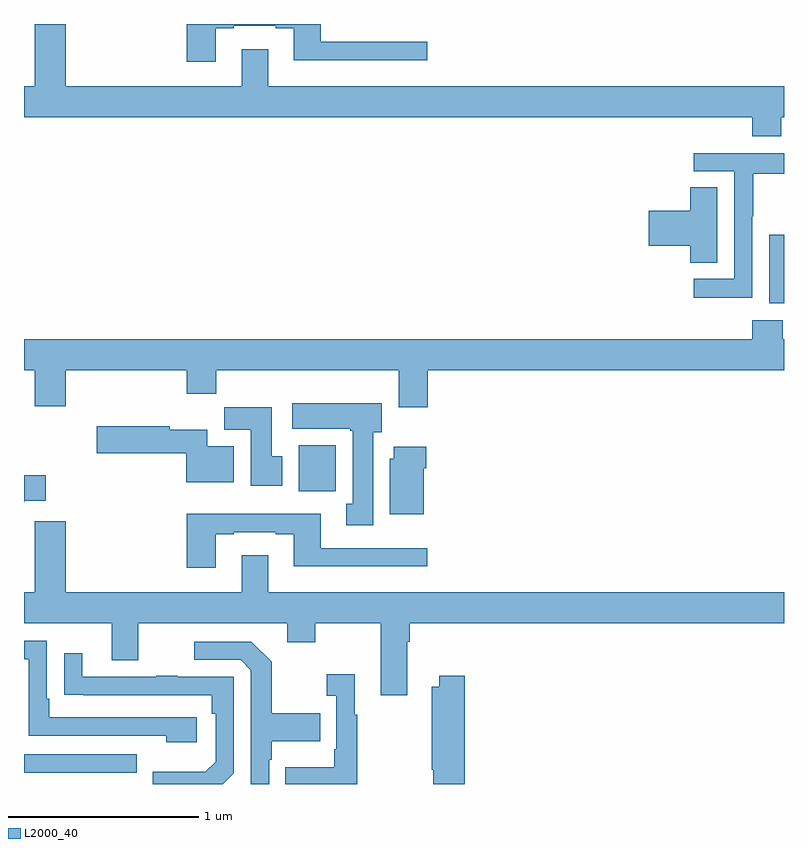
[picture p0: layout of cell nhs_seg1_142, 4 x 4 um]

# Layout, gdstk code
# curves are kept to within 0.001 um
import gdstk
lib = gdstk.Library(unit=1e-6, precision=1e-09)
def R(c, l, rs):  # rectangles x0, y0, x1, y1
    for r in rs: c.add(gdstk.rectangle(r[:2], r[2:], *l))
def P(c, l, *ps):  # polygons
    for p in ps: c.add(gdstk.Polygon(p, *l))
L2000_40 = (2000, 40)

nhs_seg1_142 = lib.new_cell('nhs_seg1_142')
R(nhs_seg1_142, L2000_40, [(117,572.259,117.593,572.355), (118.445,573.74,118.642,573.982), (120.923,574.73,121,575.091)])
P(nhs_seg1_142, L2000_40, [(118.009,576.177),(118.105,576.177),(118.105,576.189),(118.325,576.189),(118.325,576.177),(118.421,576.177),(118.421,576.008),(119.122,576.008),(119.122,576.105),(118.561,576.105),(118.561,576.199),(117.857,576.199),(117.857,576),(118.009,576)],
  [(120.985,575.708),(121,575.708),(121,575.872),(118.285,575.872),(118.285,576.067),(118.145,576.067),(118.145,575.872),(117.22,575.872),(117.22,576.199),(117.056,576.199),(117.056,575.872),(117,575.872),(117,575.708),(120.833,575.708),(120.833,575.609),(120.985,575.609)],
  [(120.834,575.188),(120.837,575.188),(120.837,575.412),(121,575.412),(121,575.52),(120.525,575.52),(120.525,575.424),(120.738,575.424),(120.738,574.857),(120.525,574.857),(120.525,574.759),(120.834,574.759)],
  [(120.649,575.339),(120.506,575.339),(120.506,575.216),(120.288,575.216),(120.288,575.033),(120.506,575.033),(120.506,574.942),(120.649,574.942)],
  [(119.126,574.376),(121,574.376),(121,574.54),(120.993,574.54),(120.993,574.639),(120.833,574.639),(120.833,574.54),(117,574.54),(117,574.376),(117.056,574.376),(117.056,574.188),(117.22,574.188),(117.22,574.376),(117.857,574.376),(117.857,574.252),(118.013,574.252),(118.013,574.376),(118.973,574.376),(118.973,574.182),(119.126,574.182)],
  [(118.837,574.05),(118.882,574.05),(118.882,574.204),(118.413,574.204),(118.413,574.07),(118.717,574.07),(118.717,574.057),(118.73,574.057),(118.73,573.674),(118.697,573.674),(118.697,573.561),(118.837,573.561)],
  [(118.36,573.924),(118.303,573.924),(118.303,574.183),(118.054,574.183),(118.054,574.064),(118.193,574.064),(118.193,573.768),(118.36,573.768)],
  [(118.105,573.976),(117.964,573.976),(117.964,574.063),(117.768,574.063),(117.768,574.083),(117.384,574.083),(117.384,573.941),(117.854,573.941),(117.854,573.788),(118.105,573.788)],
  [(119.104,573.86),(119.117,573.86),(119.117,573.973),(118.946,573.973),(118.946,573.912),(118.925,573.912),(118.925,573.62),(119.104,573.62)],
  [(117.002,573.689),(117.115,573.689),(117.115,573.824),(117,573.824),(117,573.682),(117.002,573.682)],
  [(118.009,573.513),(118.105,573.513),(118.105,573.525),(118.325,573.525),(118.325,573.513),(118.421,573.513),(118.421,573.344),(119.122,573.344),(119.122,573.441),(118.561,573.441),(118.561,573.622),(117.857,573.622),(117.857,573.336),(118.009,573.336)],
  [(119.017,572.948),(119.03,572.948),(119.03,573.044),(121,573.044),(121,573.208),(118.285,573.208),(118.285,573.403),(118.145,573.403),(118.145,573.208),(117.22,573.208),(117.22,573.583),(117.056,573.583),(117.056,573.208),(117,573.208),(117,573.044),(117.461,573.044),(117.461,572.85),(117.601,572.85),(117.601,573.044),(118.385,573.044),(118.385,572.945),(118.533,572.945),(118.533,573.044),(118.877,573.044),(118.877,572.667),(119.017,572.667)],
  [(117.91,572.55),(117.133,572.55),(117.133,572.647),(117.12,572.647),(117.12,572.952),(117,572.952),(117,572.856),(117.024,572.856),(117.024,572.454),(117.749,572.454),(117.749,572.42),(117.91,572.42)],
  [(118.29,572.327),(118.303,572.327),(118.303,572.423),(118.559,572.423),(118.559,572.571),(118.303,572.571),(118.303,572.843),(118.197,572.949),(117.897,572.949),(117.897,572.853),(118.14,572.853),(118.194,572.799),(118.194,572.199),(118.29,572.199)],
  [(118.104,572.256),(118.104,572.763),(117.809,572.763),(117.809,572.768),(117.697,572.768),(117.697,572.763),(117.307,572.763),(117.307,572.887),(117.211,572.887),(117.211,572.668),(117.988,572.667),(117.988,572.57),(118.008,572.57),(118.008,572.316),(117.955,572.263),(117.678,572.263),(117.678,572.199),(118.047,572.199)],
  [(118.753,572.563),(118.741,572.563),(118.741,572.776),(118.593,572.776),(118.593,572.663),(118.644,572.663),(118.644,572.383),(118.632,572.383),(118.632,572.287),(118.375,572.287),(118.375,572.199),(118.753,572.199)],
  [(119.321,572.77),(119.186,572.77),(119.186,572.71),(119.146,572.71),(119.146,572.275),(119.153,572.275),(119.153,572.199),(119.321,572.199)])

lib.write_gds('nhs_seg1_142.gds')
